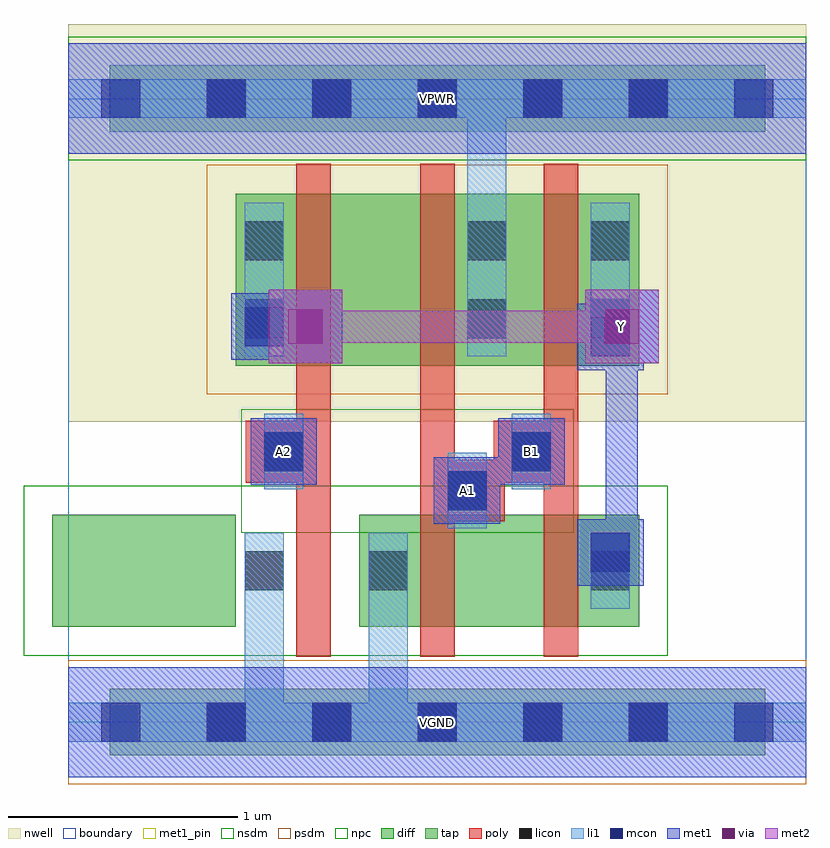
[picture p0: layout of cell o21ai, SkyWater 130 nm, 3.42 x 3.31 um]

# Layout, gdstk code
import gdstk
lib = gdstk.Library(unit=1e-6, precision=1e-09)
def R(c, l, rs):  # rectangles x0, y0, x1, y1
    for r in rs: c.add(gdstk.rectangle(r[:2], r[2:], *l))
def A(c, l, x, y, w, h, nx, ny, dx, dy):  # array of equal rectangles
    R(c, l, [(x+i*dx, y+j*dy, x+i*dx+w, y+j*dy+h) for i in range(nx) for j in range(ny)])
nwell = (64, 20)
diff = (65, 20)
tap = (65, 44)
poly = (66, 20)
licon = (66, 44)
li1 = (67, 20)
mcon = (67, 44)
met1_pin = (68, 16)
met1 = (68, 20)
via = (68, 44)
met2 = (69, 20)
nsdm = (93, 44)
psdm = (94, 20)
npc = (95, 20)
boundary = (235, 4)

o21ai = lib.new_cell('o21ai')
R(o21ai, nwell, [(0,1.31,3.22,3.045)])
R(o21ai, diff, [(-0.07,0.415,0.73,0.905), (1.27,0.415,2.49,0.905), (0.73,1.555,2.49,2.305)])
R(o21ai, tap, [(0.18,-0.145,3.04,0.145), (0.18,2.575,3.04,2.865)])
A(o21ai, poly, 0.995, 0.285, 0.15, 2.15, 3, 1, 0.54, 0)
R(o21ai, poly, [(1.575,0.875,1.905,1.145), (0.775,1.045,1.105,1.315), (1.855,1.045,2.185,1.315)])
A(o21ai, licon, 0.605, -0.085, 0.17, 0.17, 5, 2, 0.46, 2.72)
R(o21ai, licon, [(0.77,0.575,0.94,0.745), (1.31,0.575,1.48,0.745), (2.28,0.575,2.45,0.745), (1.655,0.925,1.825,1.095), (0.855,1.095,1.025,1.265), (1.935,1.095,2.105,1.265), (0.77,1.675,0.94,1.845), (1.74,1.675,1.91,1.845), (2.28,1.675,2.45,1.845), (0.77,2.015,0.94,2.185), (1.74,2.015,1.91,2.185), (2.28,2.015,2.45,2.185)])
R(o21ai, li1, [(0,-0.085,3.22,0.085), (0.77,-0.085,0.94,0.825), (1.31,-0.085,1.48,0.825), (0.77,0.495,0.94,0.825), (1.31,0.495,1.48,0.825), (2.28,0.495,2.45,0.825), (1.655,0.845,1.825,1.175), (0.855,1.015,1.025,1.345), (1.935,1.015,2.105,1.345), (0.77,1.595,0.94,2.265), (1.74,1.595,1.91,2.265), (1.74,1.595,1.91,2.805), (2.28,1.595,2.45,2.265), (0,2.635,3.22,2.805)])
A(o21ai, mcon, 0.145, -0.085, 0.17, 0.17, 7, 2, 0.46, 2.72)
R(o21ai, mcon, [(2.28,0.655,2.45,0.825), (1.655,0.925,1.825,1.095), (0.855,1.095,1.025,1.265), (1.935,1.095,2.105,1.265), (2.28,1.595,2.45,1.765), (0.77,1.64,0.94,1.81)])
R(o21ai, met1_pin, [(0,-0.24,3.22,0.24), (1.595,0.865,1.885,1.155), (0.795,1.035,1.085,1.325), (1.875,1.035,2.165,1.325), (2.255,1.565,2.575,1.885), (0,2.48,3.22,2.96)])
R(o21ai, met1, [(0,-0.24,3.22,0.24), (2.22,0.595,2.51,0.885), (2.295,0.67,2.485,0.81), (2.345,0.67,2.485,0.99), (2.345,0.85,2.485,1.565), (1.595,0.865,1.885,1.155), (0.795,1.035,1.085,1.325), (1.875,1.035,2.165,1.325), (2.345,1.425,2.485,1.75), (2.345,1.425,2.485,1.795), (2.22,1.535,2.51,1.825), (0.875,1.565,1.195,1.885), (2.255,1.565,2.575,1.885), (0.71,1.58,1,1.87), (2.295,1.61,2.485,1.75), (0.785,1.655,1.105,1.795), (0,2.48,3.22,2.96)])
R(o21ai, via, [(0.96,1.65,1.11,1.8), (2.34,1.65,2.49,1.8)])
R(o21ai, met2, [(0.875,1.565,1.195,1.885), (2.255,1.565,2.575,1.885), (0.965,1.655,2.485,1.795)])
R(o21ai, nsdm, [(-0.195,0.29,2.615,1.03), (0,2.45,3.22,2.99)])
R(o21ai, psdm, [(0,-0.27,3.22,0.27), (0.605,1.43,2.615,2.43)])
R(o21ai, npc, [(0.755,0.825,2.205,1.365)])
R(o21ai, boundary, [(0,0,3.22,2.72)])
o21ai.add(gdstk.Label('A1', (1.74,1.01), layer=68, texttype=5))
o21ai.add(gdstk.Label('A2', (0.94,1.18), layer=68, texttype=5))
o21ai.add(gdstk.Label('B1', (2.02,1.18), layer=68, texttype=5))
o21ai.add(gdstk.Label('Y', (2.415,1.725), layer=68, texttype=5))
o21ai.add(gdstk.Label('VPWR', (1.61,2.72), layer=68, texttype=5))
o21ai.add(gdstk.Label('VGND', (1.61,0), layer=68, texttype=5))
o21ai.add(gdstk.Label('A1', (1.74,1.01), layer=68, texttype=16))
o21ai.add(gdstk.Label('A2', (0.94,1.18), layer=68, texttype=16))
o21ai.add(gdstk.Label('B1', (2.02,1.18), layer=68, texttype=16))
o21ai.add(gdstk.Label('Y', (2.415,1.725), layer=68, texttype=16))
o21ai.add(gdstk.Label('VPWR', (1.61,2.72), layer=68, texttype=16))
o21ai.add(gdstk.Label('VGND', (1.61,0), layer=68, texttype=16))

lib.write_gds('o21ai.gds')
